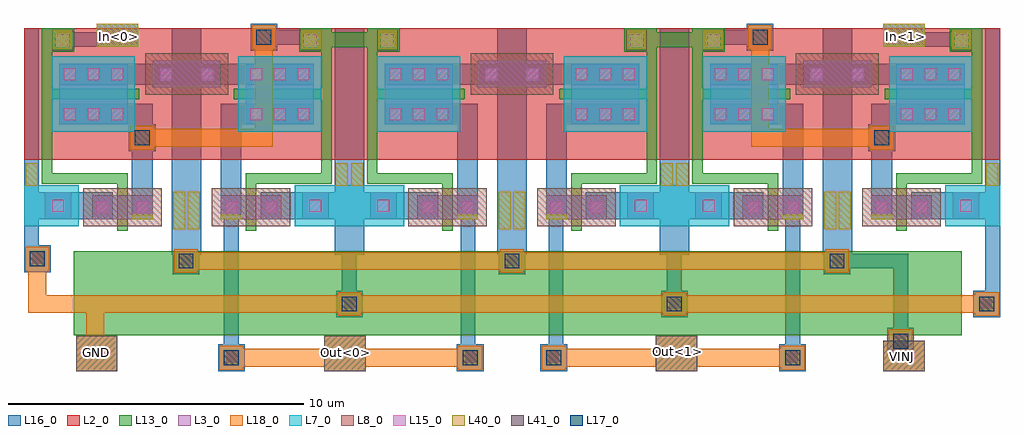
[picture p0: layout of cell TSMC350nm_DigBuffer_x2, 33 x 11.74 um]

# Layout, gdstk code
from math import pi, radians
import gdstk
lib = gdstk.Library(unit=1e-6, precision=1e-09)
def R(c, l, rs):  # rectangles x0, y0, x1, y1
    for r in rs: c.add(gdstk.rectangle(r[:2], r[2:], *l))
def A(c, l, x, y, w, h, nx, ny, dx, dy):  # array of equal rectangles
    R(c, l, [(x+i*dx, y+j*dy, x+i*dx+w, y+j*dy+h) for i in range(nx) for j in range(ny)])
L2_0 = (2, 0)
L3_0 = (3, 0)
L7_0 = (7, 0)
L8_0 = (8, 0)
L13_0 = (13, 0)
L15_0 = (15, 0)
L16_0 = (16, 0)
L17_0 = (17, 0)
L18_0 = (18, 0)
L40_0 = (40, 0)
L41_0 = (41, 0)

m1_poly1_cdns_7589090992 = lib.new_cell('M1_POLY1_CDNS_758909099221')
R(m1_poly1_cdns_7589090992, L13_0, [(-0.4,-0.4,0.4,0.4)])
R(m1_poly1_cdns_7589090992, L15_0, [(-0.2,-0.2,0.2,0.2)])
R(m1_poly1_cdns_7589090992, L16_0, [(-0.35,-0.35,0.35,0.35)])

tsmc350nm_vinjinv2 = lib.new_cell('TSMC350nm_VinjInv2')
R(tsmc350nm_vinjinv2, L2_0, [(0,0,4.45,5.5)])
R(tsmc350nm_vinjinv2, L3_0, [(5.55,0.7,6.45,1.6), (1.2,1.2,1.9,3.5), (1.2,1.2,1.9,3.5), (1.9,1.2,2.55,3.5), (2.55,1.2,3.25,3.5), (2.55,1.2,3.25,3.5), (5.65,2.3,6.45,3), (5.65,2.3,6.45,3), (5.65,3,6.45,3.65), (5.65,3.65,6.45,4.35), (5.65,3.65,6.45,4.35), (1.1,4.35,2,5.25)])
R(tsmc350nm_vinjinv2, L7_0, [(5.3,0,6.7,1.85), (0.95,0.95,3.5,3.75)])
R(tsmc350nm_vinjinv2, L8_0, [(5.4,2,6.7,4.65), (0.85,4.1,2.25,5.5)])
R(tsmc350nm_vinjinv2, L13_0, [(0,0.6,5.25,0.95), (4.9,0.6,5.25,3.5), (2.05,0.8,2.4,3.9), (5.25,3.15,6.85,3.5)])
A(tsmc350nm_vinjinv2, L15_0, 1.35, 1.35, 0.4, 0.4, 1, 3, 0, 0.8)
A(tsmc350nm_vinjinv2, L15_0, 2.7, 1.35, 0.4, 0.4, 1, 3, 0, 0.8)
R(tsmc350nm_vinjinv2, L15_0, [(5.8,0.95,6.2,1.35), (5.85,2.45,6.25,2.85), (5.85,3.8,6.25,4.2), (1.35,4.6,1.75,5)])
R(tsmc350nm_vinjinv2, L16_0, [(0,0,7.65,0.5), (5.55,0.02,6.45,3), (1.2,1.2,1.9,3.5), (1.2,1.2,1.9,5.45), (2.55,1.2,3.25,3.5), (2.55,1.2,3.25,4.25), (5.65,2.3,6.45,3), (2.55,3.65,6.45,4.35), (5.65,3.65,6.45,4.35), (0,5,7.65,5.5)])
R(tsmc350nm_vinjinv2, L40_0, [(4.57,0.06,5.32,0.47), (0.07,0.97,0.71,1.62), (6.3,3.65,6.45,4.35), (5.52,5.05,6.8,5.46)])
tsmc350nm_vinjinv2.add(gdstk.Reference(m1_poly1_cdns_7589090992, (0.4,1.3)))
tsmc350nm_vinjinv2.add(gdstk.Label('& SerialNumber 000000', (5.65,3.5), layer=16, texttype=0))
tsmc350nm_vinjinv2.add(gdstk.Label('& Distributor VIS', (5.65,3.5), layer=16, texttype=0))
tsmc350nm_vinjinv2.add(gdstk.Label('& Metric 1', (5.65,3.5), layer=16, texttype=0))
tsmc350nm_vinjinv2.add(gdstk.Label('& Version    \t  1.7A', (5.65,3.5), layer=16, texttype=0))
tsmc350nm_vinjinv2.add(gdstk.Label('& PDKName     vis35cv', (5.65,3.5), layer=16, texttype=0))
tsmc350nm_vinjinv2.add(gdstk.Label('& Vendor VIS Corp.', (5.65,3.5), layer=16, texttype=0))
tsmc350nm_vinjinv2.add(gdstk.Label('& SerialNumber 000000', (2.05,1.2), layer=16, texttype=0))
tsmc350nm_vinjinv2.add(gdstk.Label('& Distributor VIS', (2.05,1.2), layer=16, texttype=0))
tsmc350nm_vinjinv2.add(gdstk.Label('& Metric 1', (2.05,1.2), layer=16, texttype=0))
tsmc350nm_vinjinv2.add(gdstk.Label('& Version    \t  1.7A', (2.05,1.2), layer=16, texttype=0))
tsmc350nm_vinjinv2.add(gdstk.Label('& PDKName     vis35cv', (2.05,1.2), layer=16, texttype=0))
tsmc350nm_vinjinv2.add(gdstk.Label('& Vendor VIS Corp.', (2.05,1.2), layer=16, texttype=0))
tsmc350nm_vinjinv2.add(gdstk.Label('& SerialNumber 000000', (2.05,1.2), layer=63, texttype=63))
tsmc350nm_vinjinv2.add(gdstk.Label('& Distributor VIS', (2.05,1.2), layer=63, texttype=63))
tsmc350nm_vinjinv2.add(gdstk.Label('& Metric 1', (2.05,1.2), layer=63, texttype=63))
tsmc350nm_vinjinv2.add(gdstk.Label('& Version    \t  1.7A', (2.05,1.2), layer=63, texttype=63))
tsmc350nm_vinjinv2.add(gdstk.Label('& PDKName     vis35cv', (2.05,1.2), layer=63, texttype=63))
tsmc350nm_vinjinv2.add(gdstk.Label('& Vendor VIS Corp.', (2.05,1.2), layer=63, texttype=63))
tsmc350nm_vinjinv2.add(gdstk.Label('& SerialNumber 000000', (5.65,3.5), layer=63, texttype=63))
tsmc350nm_vinjinv2.add(gdstk.Label('& Vendor VIS Corp.', (5.65,3.5), layer=63, texttype=63))
tsmc350nm_vinjinv2.add(gdstk.Label('& PDKName     vis35cv', (5.65,3.5), layer=63, texttype=63))
tsmc350nm_vinjinv2.add(gdstk.Label('& Version    \t  1.7A', (5.65,3.5), layer=63, texttype=63))
tsmc350nm_vinjinv2.add(gdstk.Label('& Metric 1', (5.65,3.5), layer=63, texttype=63))
tsmc350nm_vinjinv2.add(gdstk.Label('& Distributor VIS', (5.65,3.5), layer=63, texttype=63))
tsmc350nm_vinjinv2.add(gdstk.Label('OUT', (6.38,3.94), layer=40, texttype=0))
tsmc350nm_vinjinv2.add(gdstk.Label('Vinj', (6.17,5.25), layer=40, texttype=0))
tsmc350nm_vinjinv2.add(gdstk.Label('IN', (0.39,1.28), layer=40, texttype=0))
tsmc350nm_vinjinv2.add(gdstk.Label('VGND', (4.97,0.26), layer=40, texttype=0))

m2_m1_cdns_758909099220 = lib.new_cell('M2_M1_CDNS_758909099220')
R(m2_m1_cdns_758909099220, L16_0, [(-0.45,-0.45,0.45,0.45)])
R(m2_m1_cdns_758909099220, L17_0, [(-0.25,-0.25,0.25,0.25)])
R(m2_m1_cdns_758909099220, L18_0, [(-0.4,-0.4,0.4,0.4)])

tsmc350nm_digbuffer_x2 = lib.new_cell('TSMC350nm_DigBuffer_x2')
A(tsmc350nm_digbuffer_x2, L3_0, 12.59, 9.59, 0.5, 0.9, 3, 1, 11, 0)
R(tsmc350nm_digbuffer_x2, L13_0, [(9.03,1.21,39.04,4.05)])
R(tsmc350nm_digbuffer_x2, L16_0, [(9.8,10.96,11.2,11.74), (36.4,10.96,37.8,11.74)])
R(tsmc350nm_digbuffer_x2, L18_0, [(9.1,0,10.5,1.2), (17.5,0,18.9,1.2), (28.7,0,30.1,1.2), (36.4,0,37.8,1.03)])
R(tsmc350nm_digbuffer_x2, L40_0, [(9.8,10.96,11.2,11.74), (36.4,10.96,37.8,11.74)])
R(tsmc350nm_digbuffer_x2, L41_0, [(9.1,0,10.5,1.2), (17.5,0,18.9,1.2), (28.7,0,30.1,1.2), (36.4,0,37.8,1.03)])
tsmc350nm_digbuffer_x2.add(gdstk.FlexPath([(36.98,3.72),(36.98,1.01)], 0.5, ends=(0.25, 0), simple_path=True, layer=16, datatype=0))  # L16_0
tsmc350nm_digbuffer_x2.add(gdstk.FlexPath([(34.83,3.72),(36.98,3.72)], 0.5, ends=(0, 0.25), simple_path=True, layer=16, datatype=0))  # L16_0
tsmc350nm_digbuffer_x2.add(gdstk.FlexPath([(8.64,11.21),(10.18,11.21)], 0.5, ends="flush", simple_path=True, layer=16, datatype=0))  # L16_0
tsmc350nm_digbuffer_x2.add(gdstk.FlexPath([(37.36,11.21),(38.9,11.21)], 0.5, ends="flush", simple_path=True, layer=16, datatype=0))  # L16_0
tsmc350nm_digbuffer_x2.add(gdstk.FlexPath([(29.33,2.27),(29.33,4.41)], 0.5, ends="flush", simple_path=True, layer=16, datatype=0))  # L16_0
tsmc350nm_digbuffer_x2.add(gdstk.FlexPath([(40.09,2.27),(40.09,4.47)], 0.5, ends="flush", simple_path=True, layer=16, datatype=0))  # L16_0
tsmc350nm_digbuffer_x2.add(gdstk.FlexPath([(12.82,4.29),(12.82,3.72)], 0.5, ends="flush", simple_path=True, layer=16, datatype=0))  # L16_0
tsmc350nm_digbuffer_x2.add(gdstk.FlexPath([(18.34,2.27),(18.34,5.08)], 0.5, ends="flush", simple_path=True, layer=16, datatype=0))  # L16_0
tsmc350nm_digbuffer_x2.add(gdstk.FlexPath([(14.35,5.45),(14.35,0.45)], 0.5, ends="flush", simple_path=True, layer=16, datatype=0))  # L16_0
tsmc350nm_digbuffer_x2.add(gdstk.FlexPath([(22.35,0.45),(22.35,5.49)], 0.5, ends="flush", simple_path=True, layer=16, datatype=0))  # L16_0
tsmc350nm_digbuffer_x2.add(gdstk.FlexPath([(25.33,0.45),(25.33,5.49)], 0.5, ends="flush", simple_path=True, layer=16, datatype=0))  # L16_0
tsmc350nm_digbuffer_x2.add(gdstk.FlexPath([(33.33,5.45),(33.33,0.45)], 0.5, ends="flush", simple_path=True, layer=16, datatype=0))  # L16_0
tsmc350nm_digbuffer_x2.add(gdstk.FlexPath([(32.23,11.29),(30.85,11.29)], 0.5, ends="flush", simple_path=True, layer=16, datatype=0))  # L16_0
tsmc350nm_digbuffer_x2.add(gdstk.FlexPath([(36.34,7.72),(36.34,7.89)], 0.5, ends="flush", simple_path=True, layer=16, datatype=0))  # L16_0
tsmc350nm_digbuffer_x2.add(gdstk.FlexPath([(11.34,7.72),(11.34,7.89)], 0.5, ends="flush", simple_path=True, layer=16, datatype=0))  # L16_0
tsmc350nm_digbuffer_x2.add(gdstk.FlexPath([(15.45,11.29),(16.83,11.29)], 0.5, ends="flush", simple_path=True, layer=16, datatype=0))  # L16_0
tsmc350nm_digbuffer_x2.add(gdstk.FlexPath([(30.03,11.2),(28.44,11.2)], 0.5, ends="flush", simple_path=True, layer=13, datatype=0))  # L13_0
tsmc350nm_digbuffer_x2.add(gdstk.FlexPath([(17.65,11.2),(19.24,11.2)], 0.5, ends="flush", simple_path=True, layer=13, datatype=0))  # L13_0
tsmc350nm_digbuffer_x2.add(gdstk.FlexPath([(36.98,1.01),(36.98,0)], 0.6, ends="flush", simple_path=True, layer=18, datatype=0))  # L18_0
tsmc350nm_digbuffer_x2.add(gdstk.FlexPath([(9.75,2.27),(9.75,0)], 0.6, ends=(0.3, 0), simple_path=True, layer=18, datatype=0))  # L18_0
tsmc350nm_digbuffer_x2.add(gdstk.FlexPath([(9.75,2.27),(39.89,2.27)], 0.6, ends=(0.3, 0), simple_path=True, layer=18, datatype=0))  # L18_0
tsmc350nm_digbuffer_x2.add(gdstk.FlexPath([(7.79,3.8),(7.79,2.27)], 0.6, ends=(0, 0.3), simple_path=True, layer=18, datatype=0))  # L18_0
tsmc350nm_digbuffer_x2.add(gdstk.FlexPath([(7.79,2.27),(9.75,2.27)], 0.6, ends="extended", simple_path=True, layer=18, datatype=0))  # L18_0
tsmc350nm_digbuffer_x2.add(gdstk.FlexPath([(12.82,3.72),(34.83,3.72)], 0.6, ends="flush", simple_path=True, layer=18, datatype=0))  # L18_0
tsmc350nm_digbuffer_x2.add(gdstk.FlexPath([(33.33,0.45),(25.25,0.45)], 0.6, ends="flush", simple_path=True, layer=18, datatype=0))  # L18_0
tsmc350nm_digbuffer_x2.add(gdstk.FlexPath([(14.35,0.45),(22.43,0.45)], 0.6, ends="flush", simple_path=True, layer=18, datatype=0))  # L18_0
tsmc350nm_digbuffer_x2.add(gdstk.FlexPath([(36.34,7.89),(32.23,7.89)], 0.6, ends=(0, 0.3), simple_path=True, layer=18, datatype=0))  # L18_0
tsmc350nm_digbuffer_x2.add(gdstk.FlexPath([(32.23,7.89),(32.23,11.29)], 0.6, ends=(0.3, 0), simple_path=True, layer=18, datatype=0))  # L18_0
tsmc350nm_digbuffer_x2.add(gdstk.FlexPath([(15.45,7.89),(15.45,11.29)], 0.6, ends=(0.3, 0), simple_path=True, layer=18, datatype=0))  # L18_0
tsmc350nm_digbuffer_x2.add(gdstk.FlexPath([(11.34,7.89),(15.45,7.89)], 0.6, ends=(0, 0.3), simple_path=True, layer=18, datatype=0))  # L18_0
tsmc350nm_digbuffer_x2.add(gdstk.Reference(tsmc350nm_vinjinv2, (29.34,11.59), rotation=3*pi/2, x_reflection=True))
tsmc350nm_digbuffer_x2.add(gdstk.Reference(tsmc350nm_vinjinv2, (18.34,11.59), rotation=3*pi/2, x_reflection=True))
tsmc350nm_digbuffer_x2.add(gdstk.Reference(tsmc350nm_vinjinv2, (7.34,11.59), rotation=3*pi/2))
tsmc350nm_digbuffer_x2.add(gdstk.Reference(tsmc350nm_vinjinv2, (40.34,11.59), rotation=3*pi/2, x_reflection=True))
tsmc350nm_digbuffer_x2.add(gdstk.Reference(tsmc350nm_vinjinv2, (18.34,11.59), rotation=3*pi/2))
tsmc350nm_digbuffer_x2.add(gdstk.Reference(tsmc350nm_vinjinv2, (29.34,11.59), rotation=3*pi/2))
tsmc350nm_digbuffer_x2.add(gdstk.Reference(m2_m1_cdns_758909099220, (36.34,7.89), rotation=pi, x_reflection=True))
tsmc350nm_digbuffer_x2.add(gdstk.Reference(m2_m1_cdns_758909099220, (15.45,11.29)))
tsmc350nm_digbuffer_x2.add(gdstk.Reference(m2_m1_cdns_758909099220, (32.23,11.29), rotation=pi, x_reflection=True))
tsmc350nm_digbuffer_x2.add(gdstk.Reference(m2_m1_cdns_758909099220, (33.33,0.45), rotation=pi, x_reflection=True))
tsmc350nm_digbuffer_x2.add(gdstk.Reference(m2_m1_cdns_758909099220, (25.25,0.45), rotation=pi, x_reflection=True))
tsmc350nm_digbuffer_x2.add(gdstk.Reference(m2_m1_cdns_758909099220, (12.82,3.72)))
tsmc350nm_digbuffer_x2.add(gdstk.Reference(m2_m1_cdns_758909099220, (7.79,3.8)))
tsmc350nm_digbuffer_x2.add(gdstk.Reference(m2_m1_cdns_758909099220, (34.83,3.72)))
tsmc350nm_digbuffer_x2.add(gdstk.Reference(m2_m1_cdns_758909099220, (23.84,3.72)))
tsmc350nm_digbuffer_x2.add(gdstk.Reference(m2_m1_cdns_758909099220, (18.34,2.27)))
tsmc350nm_digbuffer_x2.add(gdstk.Reference(m2_m1_cdns_758909099220, (29.33,2.27)))
tsmc350nm_digbuffer_x2.add(gdstk.Reference(m2_m1_cdns_758909099220, (39.89,2.27)))
tsmc350nm_digbuffer_x2.add(gdstk.Reference(m2_m1_cdns_758909099220, (36.98,1.01)))
tsmc350nm_digbuffer_x2.add(gdstk.Reference(m2_m1_cdns_758909099220, (14.35,0.45)))
tsmc350nm_digbuffer_x2.add(gdstk.Reference(m2_m1_cdns_758909099220, (11.34,7.89)))
tsmc350nm_digbuffer_x2.add(gdstk.Reference(m2_m1_cdns_758909099220, (22.43,0.45)))
tsmc350nm_digbuffer_x2.add(gdstk.Label('GND', (9.79,0.63), layer=41, texttype=0))
tsmc350nm_digbuffer_x2.add(gdstk.Label('VINJ', (37.06,0.5), layer=41, texttype=0))
tsmc350nm_digbuffer_x2.add(gdstk.Label('Out<1>', (29.42,0.66), layer=41, texttype=0))
tsmc350nm_digbuffer_x2.add(gdstk.Label('Out<0>', (18.22,0.62), layer=41, texttype=0))
tsmc350nm_digbuffer_x2.add(gdstk.Label('In<1>', (37.16,11.32), layer=40, texttype=0))
tsmc350nm_digbuffer_x2.add(gdstk.Label('In<0>', (10.53,11.33), layer=40, texttype=0))

lib.write_gds('TSMC350nm_DigBuffer_x2.gds')
